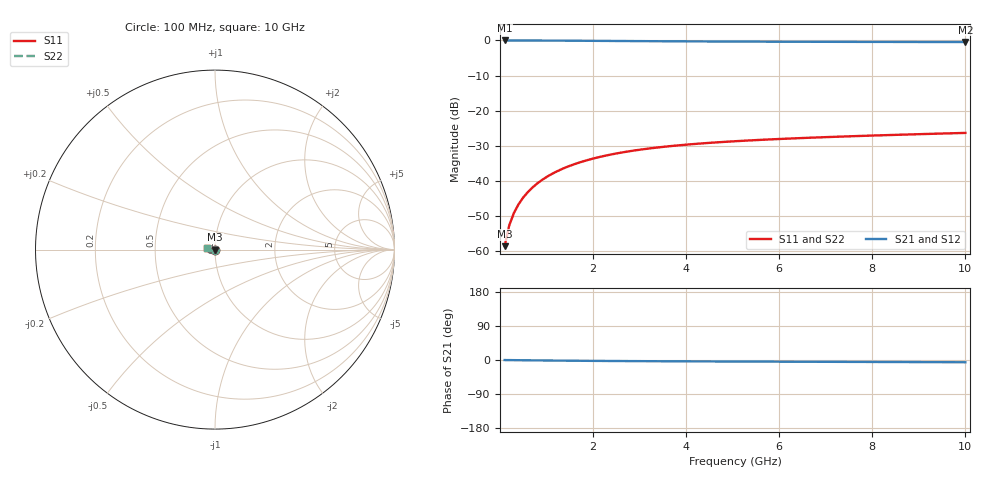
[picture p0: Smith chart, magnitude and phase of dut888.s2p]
! Touchstone file exported from HFSS 2024.1.0
!  File:  C:/UserFiles/LocalFiles/RDL_TSV_Batchsim/temp_TSV1_888_1779884718.aedt
!  Generated:  08:32:35 PM May 27, 2026
!  Design:  TSV1
!  Project:  temp_TSV1_888_1779884718
!  Setup:  Setup1
!  Solution:  Sweep
! Variables:
!  dtsv = 8.8um
!  hbump = 3um
!  htsv = 92.83um
!  lrdl = 252.1521522um
!  p = 40
!  p1 = 52.28um
!  t = 500um
!  trdl = 3um
!  wrdl = 24.89489489um
# GHz S MA R 50.000000
! Terminal data exported
! Port[1] = TSV22_T1
! Port[2] = TSV22_T2
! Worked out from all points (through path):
!   100 points, 100 MHz to 10 GHz, reference 50 ohm
!   highest |S21| = 0.00 dB at 100 MHz (marker M1); lowest = -0.5 dB at 10 GHz (marker M2)
!   lowest |S11| = -58.5 dB at 100 MHz (marker M3), VSWR 1.00, Z = 50 - j0.118 ohm
!   |S11| at or under -10 dB: start of sweep to end of sweep
!   |S22| runs from -58.5 to -26.3 dB; largest |S21 - S12| = 3.9e-15
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0.1  0.001188 -82.0  0.9998 -0.1  0.9998 -0.1  0.001188 -82.0
! Gamma 0 0 0 0
! Port Impedance 50 0 50 0
0.2  0.002354 -88.7  0.9996 -0.3  0.9996 -0.3  0.002354 -88.7
0.3  0.003525 -92.2  0.9994 -0.4  0.9994 -0.4  0.003525 -92.2
0.4  0.004692 -94.9  0.9991 -0.5  0.9991 -0.5  0.004692 -94.9
0.5  0.00585 -97.4  0.9988 -0.7  0.9988 -0.7  0.00585 -97.4
0.6  0.006997 -99.6  0.9983 -0.8  0.9983 -0.8  0.006997 -99.6
0.7  0.00813 -101.7  0.9978 -0.9  0.9978 -0.9  0.00813 -101.7
0.8  0.009247 -103.8  0.9973 -1.0  0.9973 -1.0  0.009247 -103.8
0.9  0.01035 -105.8  0.9967 -1.2  0.9967 -1.2  0.01035 -105.8
1.1  0.01248 -109.7  0.9953 -1.4  0.9953 -1.4  0.01248 -109.7
1.4  0.01552 -115.2  0.9929 -1.7  0.9929 -1.7  0.01552 -115.2
1.6  0.01742 -118.7  0.9911 -1.9  0.9911 -1.9  0.01742 -118.7
1.8  0.01921 -122.1  0.9893 -2.1  0.9893 -2.1  0.01921 -122.1
2.1  0.02172 -126.9  0.9865 -2.4  0.9865 -2.4  0.02172 -126.9
2.5  0.0247 -132.9  0.9827 -2.7  0.9827 -2.7  0.0247 -132.9
2.9  0.02732 -138.4  0.9791 -3.0  0.9791 -3.0  0.02732 -138.4
3.4  0.03014 -144.7  0.9749 -3.3  0.9749 -3.3  0.03014 -144.7
4.2  0.03381 -153.6  0.969 -3.7  0.969 -3.7  0.03381 -153.6
5.1  0.03706 -162.1  0.9638 -4.0  0.9638 -4.0  0.03706 -162.1
6.7  0.04148 -174.6  0.9571 -4.7  0.9571 -4.7  0.04148 -174.6
8.4  0.04526 174.7  0.9525 -5.3  0.9525 -5.3  0.04526 174.7
10  0.04846 166.4  0.9495 -5.9  0.9495 -5.9  0.04846 166.4
